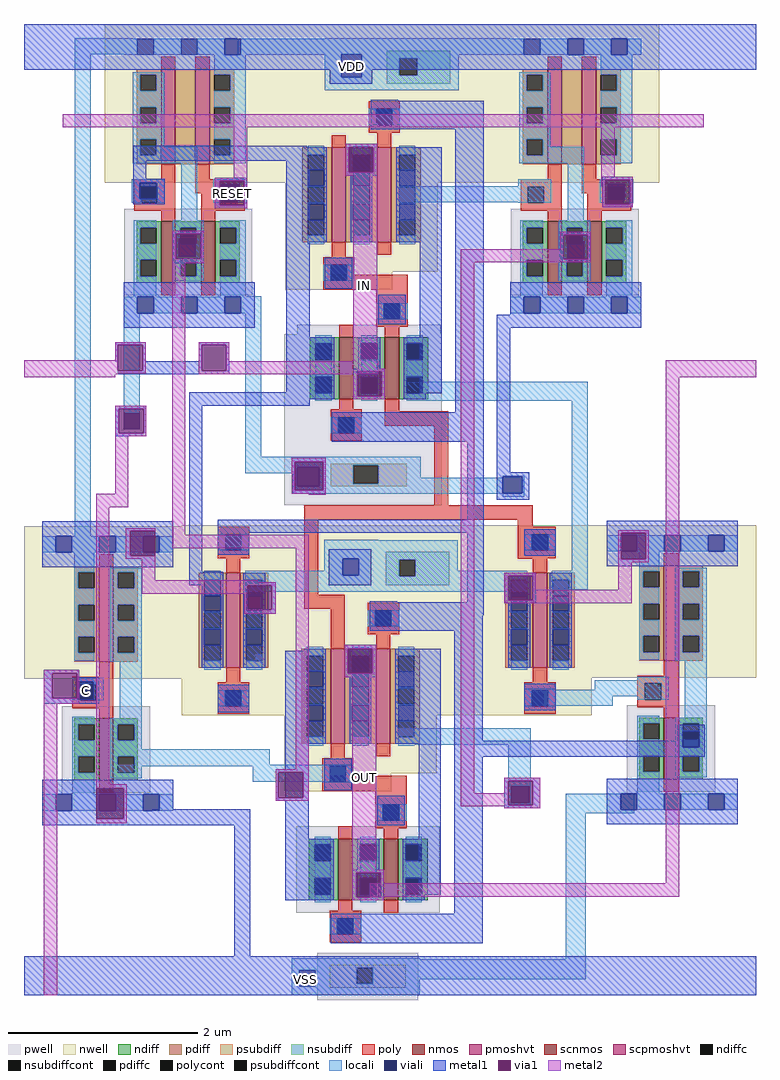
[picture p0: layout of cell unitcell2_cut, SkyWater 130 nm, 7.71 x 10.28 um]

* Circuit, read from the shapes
.subckt unitcell2_cut IN C RESET VSS VDD OUT
XM1 sky130_fd_sc_hd__inv_1_0/A C VSS VSS sky130_fd_pr__nfet_01v8 w=0.65 l=0.15
XM2 n1 demux_0/OUT1 VSS VSS sky130_fd_pr__nfet_01v8 w=0.65 l=0.15
XM3 VSS RESET n1 VSS sky130_fd_pr__nfet_01v8 w=0.65 l=0.15
XM4 OUT demux_0/S n1 VSS sky130_fd_pr__nfet_01v8 w=0.65 l=0.15
XM5 IN demux_0/S demux_0/OUT1 VSS sky130_fd_pr__nfet_01v8 w=0.65 l=0.15
XM6 n2 sky130_fd_sc_hd__inv_1_0/A OUT VSS sky130_fd_pr__nfet_01v8 w=0.65 l=0.15
XM7 demux_0/OUT2 sky130_fd_sc_hd__inv_1_0/A IN VSS sky130_fd_pr__nfet_01v8 w=0.65 l=0.15
XM8 n2 demux_0/OUT2 VSS VSS sky130_fd_pr__nfet_01v8 w=0.65 l=0.15
XM9 VSS RESET n2 VSS sky130_fd_pr__nfet_01v8 w=0.65 l=0.15
XM10 demux_0/S sky130_fd_sc_hd__inv_1_0/A VSS VSS sky130_fd_pr__nfet_01v8 w=0.65 l=0.15
XM11 sky130_fd_sc_hd__inv_1_0/A C VDD VDD sky130_fd_pr__pfet_01v8_hvt w=1 l=0.15
XM12 n3 demux_0/OUT1 n1 VDD sky130_fd_pr__pfet_01v8_hvt w=1 l=0.15
XM13 VDD RESET n3 VDD sky130_fd_pr__pfet_01v8_hvt w=1 l=0.15
XM14 VDD demux_0/S demux_0/OUT1 VDD sky130_fd_pr__pfet_01v8_hvt w=1 l=0.15
XM15 OUT sky130_fd_sc_hd__inv_1_0/A n1 VDD sky130_fd_pr__pfet_01v8_hvt w=1 l=0.15
XM16 IN sky130_fd_sc_hd__inv_1_0/A demux_0/OUT1 VDD sky130_fd_pr__pfet_01v8_hvt w=1 l=0.15
XM17 n2 demux_0/S OUT VDD sky130_fd_pr__pfet_01v8_hvt w=1 l=0.15
XM18 demux_0/OUT2 demux_0/S IN VDD sky130_fd_pr__pfet_01v8_hvt w=1 l=0.15
XM19 demux_0/OUT2 sky130_fd_sc_hd__inv_1_0/A VDD VDD sky130_fd_pr__pfet_01v8_hvt w=1 l=0.15
XM20 n4 demux_0/OUT2 n2 VDD sky130_fd_pr__pfet_01v8_hvt w=1 l=0.15
XM21 VDD RESET n4 VDD sky130_fd_pr__pfet_01v8_hvt w=1 l=0.15
XM22 demux_0/S sky130_fd_sc_hd__inv_1_0/A VDD VDD sky130_fd_pr__pfet_01v8_hvt w=1 l=0.15
.ends

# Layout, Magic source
magic
tech sky130A
magscale 1 2
<< nwell >>
rect -396 700 772 1034
rect 258 -422 630 -22
<< poly >>
rect 194 218 224 220
rect 194 188 328 218
rect 298 20 328 188
rect 24 -10 506 20
rect 24 -168 54 -10
rect 474 -92 506 -10
rect 24 -198 110 -168
rect 80 -272 110 -198
<< locali >>
rect -459 970 -336 1004
rect -80 998 68 1003
rect 180 1002 458 1004
rect 346 998 460 1002
rect -459 -65 -425 970
rect -109 969 78 998
rect 342 969 487 998
rect 256 690 476 692
rect 224 658 544 690
rect -356 425 -330 458
rect -356 214 -322 425
rect -100 122 -66 460
rect 240 240 622 280
rect -100 118 0 122
rect -100 88 10 118
rect 442 80 488 82
rect 270 76 442 78
rect 10 44 46 62
rect 242 46 442 76
rect 484 46 488 80
rect 242 44 488 46
rect 442 38 488 44
rect 588 -118 622 240
rect -100 -162 106 -118
rect 306 -162 494 -118
rect 546 -158 622 -118
rect -78 -324 -64 -294
rect -74 -326 -64 -324
rect 636 -350 726 -348
rect 636 -362 768 -350
rect 488 -368 554 -366
rect 636 -368 792 -362
rect 488 -372 792 -368
rect 530 -382 792 -372
rect 530 -402 674 -382
rect 726 -388 792 -382
rect 222 -484 502 -450
rect -332 -526 -48 -494
rect -378 -530 128 -526
rect -378 -554 -318 -530
rect -84 -562 128 -530
rect 454 -572 502 -484
rect 454 -606 460 -572
rect 498 -606 502 -572
rect 454 -618 502 -606
rect 575 -629 719 -587
rect 575 -936 617 -629
rect 214 -978 617 -936
<< viali >>
rect -322 666 -286 700
rect -150 662 -112 696
rect 664 664 700 698
rect -240 544 -204 582
rect 578 540 614 576
rect -356 180 -322 214
rect 442 46 484 80
rect -456 -388 -420 -352
rect 822 -490 856 -456
rect 460 -606 498 -572
<< metal1 >>
rect -566 938 -200 1034
rect -116 938 520 1034
rect 724 938 976 1034
rect 102 922 146 938
rect -336 746 30 778
rect -336 708 -308 746
rect -336 700 -270 708
rect -336 666 -322 700
rect -286 666 -270 700
rect -336 654 -270 666
rect -164 704 -96 710
rect -164 652 -154 704
rect -102 652 -96 704
rect -164 646 -96 652
rect 652 706 716 712
rect 652 654 658 706
rect 710 654 716 706
rect 652 648 716 654
rect -254 592 -186 598
rect -254 540 -246 592
rect -194 540 -186 592
rect -254 530 -186 540
rect 564 590 628 596
rect 564 538 570 590
rect 622 538 628 590
rect 564 532 628 538
rect -374 358 -310 364
rect -374 324 -368 358
rect -316 324 -310 358
rect -198 358 -134 364
rect -198 324 -192 358
rect -316 304 -192 324
rect -140 304 -134 358
rect -368 296 -134 304
rect -218 244 -14 258
rect -218 230 36 244
rect -374 224 -308 230
rect -374 172 -366 224
rect -314 172 -308 224
rect -374 166 -308 172
rect -218 -120 -190 230
rect 368 -10 402 232
rect 430 90 458 422
rect 430 80 498 90
rect 430 46 442 80
rect 484 46 498 80
rect 430 32 498 46
rect -158 -38 402 -10
rect -158 -84 -92 -38
rect -218 -122 -146 -120
rect -218 -124 -190 -122
rect -218 -148 -192 -124
rect -102 -148 -36 -142
rect -102 -200 -96 -148
rect -44 -200 -36 -148
rect -102 -208 -36 -200
rect 368 -212 402 -38
rect 488 -86 554 -30
rect 446 -128 512 -122
rect 446 -180 454 -128
rect 506 -180 512 -128
rect 446 -186 512 -180
rect -524 -334 -450 -326
rect -524 -386 -506 -334
rect -454 -342 -450 -334
rect -454 -352 -408 -342
rect -524 -388 -456 -386
rect -420 -388 -408 -352
rect -524 -398 -408 -388
rect -158 -416 -92 -358
rect 488 -412 554 -356
rect 810 -456 868 -442
rect 810 -476 822 -456
rect 386 -490 822 -476
rect 856 -490 868 -456
rect 386 -510 868 -490
rect -36 -542 28 -536
rect -36 -596 -30 -542
rect 22 -596 28 -542
rect -36 -602 28 -596
rect 446 -560 522 -554
rect 446 -612 454 -560
rect 506 -612 522 -560
rect 446 -618 522 -612
rect -296 -654 -89 -620
rect -123 -930 -89 -654
rect -566 -1012 976 -930
<< via1 >>
rect -154 696 -102 704
rect -154 662 -150 696
rect -150 662 -112 696
rect -112 662 -102 696
rect -154 652 -102 662
rect 658 698 710 706
rect 658 664 664 698
rect 664 664 700 698
rect 700 664 710 698
rect 658 654 710 664
rect -246 582 -194 592
rect -246 544 -240 582
rect -240 544 -204 582
rect -204 544 -194 582
rect -246 540 -194 544
rect 570 576 622 590
rect 570 540 578 576
rect 578 540 614 576
rect 614 540 622 576
rect 570 538 622 540
rect -368 304 -316 358
rect -192 304 -140 358
rect -366 214 -314 224
rect -366 180 -356 214
rect -356 180 -322 214
rect -322 180 -314 214
rect -366 172 -314 180
rect -342 -86 -290 -34
rect 4 52 64 112
rect -96 -200 -44 -148
rect 692 -94 744 -38
rect 454 -180 506 -128
rect -506 -352 -454 -334
rect -506 -386 -456 -352
rect -456 -386 -454 -352
rect -414 -640 -356 -576
rect -30 -596 22 -542
rect 454 -572 506 -560
rect 454 -606 460 -572
rect 460 -606 498 -572
rect 498 -606 506 -572
rect 454 -612 506 -606
<< metal2 >>
rect -484 816 866 844
rect -124 710 -96 816
rect -164 704 -96 710
rect -164 652 -154 704
rect -102 652 -96 704
rect 650 712 678 816
rect 650 706 716 712
rect 650 692 658 706
rect -164 646 -96 652
rect 652 654 658 692
rect 710 654 716 706
rect 652 648 716 654
rect -254 592 -186 598
rect -254 540 -246 592
rect -194 540 -186 592
rect 564 590 628 596
rect 564 560 570 590
rect -254 530 -186 540
rect 354 538 570 560
rect 622 538 628 590
rect 354 532 628 538
rect -374 358 -310 364
rect -374 326 -368 358
rect -566 304 -368 326
rect -316 304 -310 358
rect -566 298 -310 304
rect -566 296 -368 298
rect -566 290 -374 296
rect -374 224 -308 230
rect -374 172 -366 224
rect -314 172 -308 224
rect -374 166 -308 172
rect -374 44 -346 166
rect -414 16 -346 44
rect -524 -334 -450 -326
rect -524 -386 -506 -334
rect -454 -386 -450 -334
rect -524 -398 -450 -386
rect -524 -1012 -496 -398
rect -414 -568 -386 16
rect -352 -34 -290 -28
rect -352 -86 -342 -34
rect -254 -42 -226 530
rect 136 462 168 504
rect -198 358 -134 364
rect -198 304 -192 358
rect -140 324 -134 358
rect -140 304 180 324
rect -198 296 180 304
rect -2 112 70 120
rect -2 52 4 112
rect 64 52 70 112
rect -2 44 70 52
rect 34 42 70 44
rect -254 -70 34 -42
rect -352 -92 -290 -86
rect -318 -138 -290 -92
rect -318 -142 -74 -138
rect -318 -148 -36 -142
rect -318 -166 -96 -148
rect -102 -200 -96 -166
rect -44 -200 -36 -148
rect -102 -208 -36 -200
rect 6 -536 34 -70
rect -36 -542 34 -536
rect -414 -576 -350 -568
rect -356 -640 -350 -576
rect -36 -596 -30 -542
rect 22 -596 34 -542
rect 138 -572 166 -536
rect -36 -602 34 -596
rect 354 -586 382 532
rect 786 290 976 326
rect 686 -38 750 -32
rect 686 -94 692 -38
rect 744 -94 750 -38
rect 686 -100 750 -94
rect 446 -128 512 -122
rect 446 -180 454 -128
rect 506 -158 512 -128
rect 686 -158 714 -100
rect 506 -180 714 -158
rect 446 -186 714 -180
rect 446 -560 522 -554
rect 446 -586 454 -560
rect 354 -612 454 -586
rect 506 -612 522 -560
rect 354 -614 522 -612
rect 446 -618 522 -614
rect -414 -650 -350 -640
rect 786 -776 814 290
rect 162 -804 814 -776
use sky130_fd_pr__pfet_01v8_hvt_UUWA33  1
transform 1 0 -125 0 1 -222
box -109 -200 109 200
use sky130_fd_pr__pfet_01v8_hvt_UUWA33  2
transform 1 0 521 0 1 -222
box -109 -200 109 200
use demux  demux_0
transform 1 0 36 0 1 156
box -54 -136 366 878
use mux  mux_0
transform 1 0 34 0 1 -900
box -54 -136 366 878
use sky130_fd_sc_hd__inv_1  sky130_fd_sc_hd__inv_1_0 $PDKPATH/libs.ref/sky130_fd_sc_hd/mag
transform 1 0 662 0 1 -604
box -38 -48 314 592
use sky130_fd_sc_hd__inv_1  sky130_fd_sc_hd__inv_1_1
transform 1 0 -528 0 1 -606
box -38 -48 314 592
use sky130_fd_sc_hd__nor2_1  sky130_fd_sc_hd__nor2_1_0 $PDKPATH/libs.ref/sky130_fd_sc_hd/mag
transform 1 0 -356 0 1 442
box -38 -48 314 592
use sky130_fd_sc_hd__nor2_1  sky130_fd_sc_hd__nor2_1_1
transform 1 0 458 0 1 442
box -38 -48 314 592
<< labels >>
flabel metal2 136 462 168 504 1 FreeSans 160 0 0 0 IN
port 1 n
flabel viali -452 -386 -420 -354 1 FreeSans 160 0 0 0 C
port 2 n
flabel metal2 -150 660 -104 692 1 FreeSans 160 0 0 0 RESET
port 3 n
flabel metal1 102 922 146 966 1 FreeSans 160 0 0 0 VDD
port 5 n
flabel metal1 8 -998 48 -960 1 FreeSans 160 0 0 0 VSS
port 4 n
flabel metal2 138 -572 166 -536 1 FreeSans 160 0 0 0 OUT
port 6 n
<< end >>

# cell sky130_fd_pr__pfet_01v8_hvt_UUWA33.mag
magic
tech sky130A
magscale 1 2
<< nwell >>
rect -109 -200 109 200
<< pmoshvt >>
rect -15 -100 15 100
<< pdiff >>
rect -73 85 -15 100
rect -73 51 -61 85
rect -27 51 -15 85
rect -73 17 -15 51
rect -73 -17 -61 17
rect -27 -17 -15 17
rect -73 -51 -15 -17
rect -73 -85 -61 -51
rect -27 -85 -15 -51
rect -73 -100 -15 -85
rect 15 85 73 100
rect 15 51 27 85
rect 61 51 73 85
rect 15 17 73 51
rect 15 -17 27 17
rect 61 -17 73 17
rect 15 -51 73 -17
rect 15 -85 27 -51
rect 61 -85 73 -51
rect 15 -100 73 -85
<< pdiffc >>
rect -61 51 -27 85
rect -61 -17 -27 17
rect -61 -85 -27 -51
rect 27 51 61 85
rect 27 -17 61 17
rect 27 -85 61 -51
<< poly >>
rect -33 181 33 197
rect -33 147 -17 181
rect 17 147 33 181
rect -33 131 33 147
rect -15 100 15 131
rect -15 -131 15 -100
rect -33 -147 33 -131
rect -33 -181 -17 -147
rect 17 -181 33 -147
rect -33 -197 33 -181
<< polycont >>
rect -17 147 17 181
rect -17 -181 17 -147
<< locali >>
rect -33 147 -17 181
rect 17 147 33 181
rect -61 85 -27 104
rect -61 17 -27 19
rect -61 -19 -27 -17
rect -61 -104 -27 -85
rect 27 85 61 104
rect 27 17 61 19
rect 27 -19 61 -17
rect 27 -104 61 -85
rect -33 -181 -17 -147
rect 17 -181 33 -147
<< viali >>
rect -17 147 17 181
rect -61 51 -27 53
rect -61 19 -27 51
rect -61 -51 -27 -19
rect -61 -53 -27 -51
rect 27 51 61 53
rect 27 19 61 51
rect 27 -51 61 -19
rect 27 -53 61 -51
rect -17 -181 17 -147
<< metal1 >>
rect -29 181 29 187
rect -29 147 -17 181
rect 17 147 29 181
rect -29 141 29 147
rect -67 53 -21 100
rect -67 19 -61 53
rect -27 19 -21 53
rect -67 -19 -21 19
rect -67 -53 -61 -19
rect -27 -53 -21 -19
rect -67 -100 -21 -53
rect 21 53 67 100
rect 21 19 27 53
rect 61 19 67 53
rect 21 -19 67 19
rect 21 -53 27 -19
rect 61 -53 67 -19
rect 21 -100 67 -53
rect -29 -147 29 -141
rect -29 -181 -17 -147
rect 17 -181 29 -147
rect -29 -187 29 -181
<< end >>

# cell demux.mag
magic
tech sky130A
magscale 1 2
<< nwell >>
rect -54 614 336 878
<< pwell >>
rect -54 -136 278 224
<< psubdiff >>
rect 44 -52 204 -48
rect 44 -90 92 -52
rect 144 -90 204 -52
rect 44 -96 204 -90
<< nsubdiff >>
rect 162 806 296 822
rect 162 770 188 806
rect 226 770 296 806
rect 162 752 296 770
<< psubdiffcont >>
rect 92 -90 144 -52
<< nsubdiffcont >>
rect 188 770 226 806
<< poly >>
rect 28 318 206 350
rect 140 240 206 318
<< locali >>
rect 32 846 146 848
rect 32 814 314 846
rect 32 766 66 814
rect 110 806 314 814
rect 110 770 188 806
rect 226 770 314 806
rect 110 766 314 770
rect 32 738 314 766
rect -36 -52 234 -34
rect -36 -56 92 -52
rect -36 -96 -26 -56
rect 20 -90 92 -56
rect 144 -90 234 -52
rect 20 -96 234 -90
rect -36 -112 234 -96
<< viali >>
rect 66 766 110 814
rect -26 -96 20 -56
<< metal1 >>
rect 42 814 132 828
rect 42 766 66 814
rect 110 766 132 814
rect 42 752 132 766
rect 128 716 186 718
rect 128 656 366 716
rect 76 618 142 626
rect -50 218 0 614
rect 76 566 82 618
rect 134 566 142 618
rect 76 558 142 566
rect 188 418 278 618
rect 32 320 90 386
rect 144 246 202 308
rect -50 88 52 218
rect 92 146 158 152
rect 92 94 100 146
rect 152 94 158 146
rect 232 100 278 418
rect 92 88 158 94
rect 306 60 366 656
rect 46 -2 366 60
rect -38 -56 34 -36
rect -38 -96 -26 -56
rect 20 -96 34 -56
rect -38 -112 34 -96
<< via1 >>
rect 82 566 134 618
rect 100 94 152 146
<< metal2 >>
rect 76 618 142 626
rect 76 566 82 618
rect 134 566 142 618
rect 76 558 142 566
rect 92 152 142 558
rect 92 146 158 152
rect 92 94 100 146
rect 152 94 158 146
rect 92 88 158 94
use sky130_fd_pr__nfet_01v8_PX9ZJG  1
transform 1 0 125 0 1 153
box -125 -153 125 153
use sky130_fd_pr__pfet_01v8_hvt_SH6FHF  2
transform 1 0 109 0 1 518
box -161 -200 161 200
<< labels >>
flabel metal1 -38 296 -14 332 1 FreeSans 160 0 0 0 OUT1
flabel metal1 242 314 262 330 1 FreeSans 160 0 0 0 OUT2
flabel metal2 106 322 124 340 1 FreeSans 160 0 0 0 IN
flabel nwell 54 760 118 814 1 FreeSans 160 0 0 0 VDD
flabel pwell -30 -110 22 -52 1 FreeSans 160 0 0 0 VSS
flabel metal1 328 316 346 340 1 FreeSans 160 0 0 0 S
flabel metal1 48 326 76 362 1 FreeSans 160 0 0 0 Sbar
<< end >>

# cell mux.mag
magic
tech sky130A
magscale 1 2
<< nwell >>
rect -54 614 336 878
<< pwell >>
rect 18 -122 230 -22
<< psubdiff >>
rect 44 -54 204 -48
rect 44 -88 101 -54
rect 135 -88 204 -54
rect 44 -96 204 -88
<< nsubdiff >>
rect 162 805 296 822
rect 162 771 190 805
rect 224 771 296 805
rect 162 752 296 771
<< psubdiffcont >>
rect 101 -88 135 -54
<< nsubdiffcont >>
rect 190 771 224 805
<< poly >>
rect 28 318 206 350
rect 140 240 206 318
<< locali >>
rect 32 846 146 848
rect 32 807 314 846
rect 32 773 71 807
rect 105 805 314 807
rect 105 773 190 805
rect 32 771 190 773
rect 224 771 314 805
rect 32 738 314 771
rect -36 -54 234 -34
rect -36 -59 101 -54
rect -36 -93 -20 -59
rect 14 -88 101 -59
rect 135 -88 234 -54
rect 14 -93 234 -88
rect -36 -112 234 -93
<< viali >>
rect 71 773 105 807
rect -20 -93 14 -59
<< metal1 >>
rect 42 807 132 828
rect 42 773 71 807
rect 105 773 132 807
rect 42 752 132 773
rect 128 716 186 718
rect 128 656 366 716
rect 76 618 142 626
rect -50 218 0 614
rect 76 566 82 618
rect 134 566 142 618
rect 76 558 142 566
rect 188 418 278 618
rect 32 320 90 386
rect 144 246 202 308
rect -50 88 52 218
rect 92 146 158 152
rect 92 94 100 146
rect 152 94 158 146
rect 232 100 278 418
rect 92 88 158 94
rect 306 60 366 656
rect 46 -2 366 60
rect -38 -59 34 -36
rect -38 -93 -20 -59
rect 14 -93 34 -59
rect -38 -112 34 -93
<< via1 >>
rect 82 566 134 618
rect 100 94 152 146
<< metal2 >>
rect 76 618 142 626
rect 76 566 82 618
rect 134 566 142 618
rect 76 558 142 566
rect 92 152 142 558
rect 92 146 158 152
rect 92 94 100 146
rect 152 94 158 146
rect 92 88 158 94
use sky130_fd_pr__nfet_01v8_PX9ZJG  1
transform 1 0 125 0 1 153
box -151 -153 151 153
use sky130_fd_pr__pfet_01v8_hvt_SH6FHF  2
transform 1 0 109 0 1 518
box -161 -200 161 200
<< end >>

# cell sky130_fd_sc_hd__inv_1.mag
magic
tech sky130A
magscale 1 2
<< nwell >>
rect -38 261 314 582
<< pwell >>
rect 42 21 228 203
rect 42 17 63 21
rect 29 -17 63 17
<< scnmos >>
rect 120 47 150 177
<< scpmoshvt >>
rect 120 297 150 497
<< ndiff >>
rect 68 165 120 177
rect 68 131 76 165
rect 110 131 120 165
rect 68 97 120 131
rect 68 63 76 97
rect 110 63 120 97
rect 68 47 120 63
rect 150 165 202 177
rect 150 131 160 165
rect 194 131 202 165
rect 150 97 202 131
rect 150 63 160 97
rect 194 63 202 97
rect 150 47 202 63
<< pdiff >>
rect 68 485 120 497
rect 68 451 76 485
rect 110 451 120 485
rect 68 417 120 451
rect 68 383 76 417
rect 110 383 120 417
rect 68 349 120 383
rect 68 315 76 349
rect 110 315 120 349
rect 68 297 120 315
rect 150 485 202 497
rect 150 451 160 485
rect 194 451 202 485
rect 150 417 202 451
rect 150 383 160 417
rect 194 383 202 417
rect 150 349 202 383
rect 150 315 160 349
rect 194 315 202 349
rect 150 297 202 315
<< ndiffc >>
rect 76 131 110 165
rect 76 63 110 97
rect 160 131 194 165
rect 160 63 194 97
<< pdiffc >>
rect 76 451 110 485
rect 76 383 110 417
rect 76 315 110 349
rect 160 451 194 485
rect 160 383 194 417
rect 160 315 194 349
<< poly >>
rect 120 497 150 523
rect 120 265 150 297
rect 64 249 150 265
rect 64 215 80 249
rect 114 215 150 249
rect 64 199 150 215
rect 120 177 150 199
rect 120 21 150 47
<< polycont >>
rect 80 215 114 249
<< locali >>
rect 0 527 29 561
rect 63 527 121 561
rect 155 527 213 561
rect 247 527 276 561
rect 68 485 110 527
rect 68 451 76 485
rect 68 417 110 451
rect 68 383 76 417
rect 68 349 110 383
rect 68 315 76 349
rect 68 299 110 315
rect 144 485 210 493
rect 144 451 160 485
rect 194 451 210 485
rect 144 417 210 451
rect 144 383 160 417
rect 194 383 210 417
rect 144 349 210 383
rect 144 315 160 349
rect 194 315 210 349
rect 144 297 210 315
rect 64 249 130 263
rect 64 215 80 249
rect 114 215 130 249
rect 64 165 110 181
rect 164 177 210 297
rect 64 131 76 165
rect 64 97 110 131
rect 64 63 76 97
rect 64 17 110 63
rect 144 165 210 177
rect 144 131 160 165
rect 194 131 210 165
rect 144 97 210 131
rect 144 63 160 97
rect 194 63 210 97
rect 144 51 210 63
rect 0 -17 29 17
rect 63 -17 121 17
rect 155 -17 213 17
rect 247 -17 276 17
<< viali >>
rect 29 527 63 561
rect 121 527 155 561
rect 213 527 247 561
rect 29 -17 63 17
rect 121 -17 155 17
rect 213 -17 247 17
<< metal1 >>
rect 0 561 276 592
rect 0 527 29 561
rect 63 527 121 561
rect 155 527 213 561
rect 247 527 276 561
rect 0 496 276 527
rect 0 17 276 48
rect 0 -17 29 17
rect 63 -17 121 17
rect 155 -17 213 17
rect 247 -17 276 17
rect 0 -48 276 -17
<< labels >>
flabel locali s 164 289 198 323 0 FreeSans 340 0 0 0 Y
port 1 nsew
flabel locali s 164 221 198 255 0 FreeSans 340 0 0 0 Y
port 1 nsew
flabel locali s 72 221 106 255 0 FreeSans 340 0 0 0 A
port 2 nsew
flabel nwell s 29 527 63 561 0 FreeSans 200 0 0 0 VPB
port 3 nsew
flabel pwell s 29 -17 63 17 0 FreeSans 200 0 0 0 VNB
port 4 nsew
flabel metal1 s 29 -17 63 17 0 FreeSans 200 0 0 0 VGND
port 5 nsew
flabel metal1 s 29 527 63 561 0 FreeSans 200 0 0 0 VPWR
port 6 nsew
rlabel comment s 0 0 0 0 4 inv_1
<< properties >>
string FIXED_BBOX 0 0 276 544
string path 0.000 0.000 1.380 0.000 
<< end >>

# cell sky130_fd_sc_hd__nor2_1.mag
magic
tech sky130A
magscale 1 2
<< nwell >>
rect -38 261 314 582
<< pwell >>
rect 1 21 271 203
<< scnmos >>
rect 79 47 109 177
rect 163 47 193 177
<< scpmoshvt >>
rect 79 297 109 497
rect 151 297 181 497
<< ndiff >>
rect 27 163 79 177
rect 27 129 35 163
rect 69 129 79 163
rect 27 95 79 129
rect 27 61 35 95
rect 69 61 79 95
rect 27 47 79 61
rect 109 163 163 177
rect 109 129 119 163
rect 153 129 163 163
rect 109 95 163 129
rect 109 61 119 95
rect 153 61 163 95
rect 109 47 163 61
rect 193 163 245 177
rect 193 129 203 163
rect 237 129 245 163
rect 193 95 245 129
rect 193 61 203 95
rect 237 61 245 95
rect 193 47 245 61
<< pdiff >>
rect 27 485 79 497
rect 27 451 35 485
rect 69 451 79 485
rect 27 417 79 451
rect 27 383 35 417
rect 69 383 79 417
rect 27 349 79 383
rect 27 315 35 349
rect 69 315 79 349
rect 27 297 79 315
rect 109 297 151 497
rect 181 485 233 497
rect 181 451 191 485
rect 225 451 233 485
rect 181 417 233 451
rect 181 383 191 417
rect 225 383 233 417
rect 181 349 233 383
rect 181 315 191 349
rect 225 315 233 349
rect 181 297 233 315
<< ndiffc >>
rect 35 129 69 163
rect 35 61 69 95
rect 119 129 153 163
rect 119 61 153 95
rect 203 129 237 163
rect 203 61 237 95
<< pdiffc >>
rect 35 451 69 485
rect 35 383 69 417
rect 35 315 69 349
rect 191 451 225 485
rect 191 383 225 417
rect 191 315 225 349
<< poly >>
rect 79 497 109 523
rect 151 497 181 523
rect 79 265 109 297
rect 22 249 109 265
rect 22 215 37 249
rect 71 215 109 249
rect 151 265 181 297
rect 151 249 255 265
rect 151 235 205 249
rect 22 199 109 215
rect 79 177 109 199
rect 163 215 205 235
rect 239 215 255 249
rect 163 199 255 215
rect 163 177 193 199
rect 79 21 109 47
rect 163 21 193 47
<< polycont >>
rect 37 215 71 249
rect 205 215 239 249
<< locali >>
rect 0 527 29 561
rect 63 527 121 561
rect 155 527 213 561
rect 247 527 276 561
rect 19 485 85 490
rect 19 451 35 485
rect 69 451 85 485
rect 19 417 85 451
rect 19 383 35 417
rect 69 383 85 417
rect 19 349 85 383
rect 19 315 35 349
rect 69 333 85 349
rect 191 485 257 527
rect 225 451 257 485
rect 191 417 257 451
rect 225 383 257 417
rect 191 349 257 383
rect 69 315 155 333
rect 19 299 155 315
rect 225 315 257 349
rect 191 299 257 315
rect 17 249 87 265
rect 17 215 37 249
rect 71 215 87 249
rect 121 179 155 299
rect 189 249 259 265
rect 189 215 205 249
rect 239 215 259 249
rect 21 163 69 179
rect 21 129 35 163
rect 21 95 69 129
rect 21 61 35 95
rect 21 17 69 61
rect 103 163 169 179
rect 103 129 119 163
rect 153 129 169 163
rect 103 95 169 129
rect 103 61 119 95
rect 153 61 169 95
rect 103 51 169 61
rect 203 163 257 179
rect 237 129 257 163
rect 203 95 257 129
rect 237 61 257 95
rect 203 17 257 61
rect 0 -17 29 17
rect 63 -17 121 17
rect 155 -17 213 17
rect 247 -17 276 17
<< viali >>
rect 29 527 63 561
rect 121 527 155 561
rect 213 527 247 561
rect 29 -17 63 17
rect 121 -17 155 17
rect 213 -17 247 17
<< metal1 >>
rect 0 561 276 592
rect 0 527 29 561
rect 63 527 121 561
rect 155 527 213 561
rect 247 527 276 561
rect 0 496 276 527
rect 0 17 276 48
rect 0 -17 29 17
rect 63 -17 121 17
rect 155 -17 213 17
rect 247 -17 276 17
rect 0 -48 276 -17
<< properties >>
string FIXED_BBOX 0 0 276 544
<< end >>

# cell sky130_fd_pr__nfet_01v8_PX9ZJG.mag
magic
tech sky130A
magscale 1 2
<< pwell >>
rect -151 -91 151 91
<< nmos >>
rect -63 -65 -33 65
rect 33 -65 63 65
<< ndiff >>
rect -125 51 -63 65
rect -125 17 -113 51
rect -79 17 -63 51
rect -125 -17 -63 17
rect -125 -51 -113 -17
rect -79 -51 -63 -17
rect -125 -65 -63 -51
rect -33 51 33 65
rect -33 17 -17 51
rect 17 17 33 51
rect -33 -17 33 17
rect -33 -51 -17 -17
rect 17 -51 33 -17
rect -33 -65 33 -51
rect 63 51 125 65
rect 63 17 79 51
rect 113 17 125 51
rect 63 -17 125 17
rect 63 -51 79 -17
rect 113 -51 125 -17
rect 63 -65 125 -51
<< ndiffc >>
rect -113 17 -79 51
rect -113 -51 -79 -17
rect -17 17 17 51
rect -17 -51 17 -17
rect 79 17 113 51
rect 79 -51 113 -17
<< poly >>
rect 15 137 81 153
rect 15 103 31 137
rect 65 103 81 137
rect -63 65 -33 91
rect 15 87 81 103
rect 33 65 63 87
rect -63 -87 -33 -65
rect -81 -103 -15 -87
rect 33 -91 63 -65
rect -81 -137 -65 -103
rect -31 -137 -15 -103
rect -81 -153 -15 -137
<< polycont >>
rect 31 103 65 137
rect -65 -137 -31 -103
<< locali >>
rect 15 103 31 137
rect 65 103 81 137
rect -113 53 -79 69
rect -113 -17 -79 17
rect -113 -69 -79 -53
rect -17 53 17 69
rect -17 -17 17 17
rect -17 -69 17 -53
rect 79 53 113 69
rect 79 -17 113 17
rect 79 -69 113 -53
rect -81 -137 -65 -103
rect -31 -137 -15 -103
<< viali >>
rect 31 103 65 137
rect -113 51 -79 53
rect -113 19 -79 51
rect -113 -51 -79 -19
rect -113 -53 -79 -51
rect -17 51 17 53
rect -17 19 17 51
rect -17 -51 17 -19
rect -17 -53 17 -51
rect 79 51 113 53
rect 79 19 113 51
rect 79 -51 113 -19
rect 79 -53 113 -51
rect -65 -137 -31 -103
<< metal1 >>
rect 19 137 77 143
rect 19 103 31 137
rect 65 103 77 137
rect 19 97 77 103
rect -119 53 -73 65
rect -119 19 -113 53
rect -79 19 -73 53
rect -119 -19 -73 19
rect -119 -53 -113 -19
rect -79 -53 -73 -19
rect -119 -65 -73 -53
rect -23 53 23 65
rect -23 19 -17 53
rect 17 19 23 53
rect -23 -19 23 19
rect -23 -53 -17 -19
rect 17 -53 23 -19
rect -23 -65 23 -53
rect 73 53 119 65
rect 73 19 79 53
rect 113 19 119 53
rect 73 -19 119 19
rect 73 -53 79 -19
rect 113 -53 119 -19
rect 73 -65 119 -53
rect -77 -103 -19 -97
rect -77 -137 -65 -103
rect -31 -137 -19 -103
rect -77 -143 -19 -137
<< end >>

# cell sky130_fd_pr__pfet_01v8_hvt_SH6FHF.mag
magic
tech sky130A
magscale 1 2
<< nwell >>
rect -65 162 161 200
rect -161 -162 161 162
rect -161 -200 65 -162
<< pmoshvt >>
rect -63 -100 -33 100
rect 33 -100 63 100
<< pdiff >>
rect -125 85 -63 100
rect -125 51 -113 85
rect -79 51 -63 85
rect -125 17 -63 51
rect -125 -17 -113 17
rect -79 -17 -63 17
rect -125 -51 -63 -17
rect -125 -85 -113 -51
rect -79 -85 -63 -51
rect -125 -100 -63 -85
rect -33 85 33 100
rect -33 51 -17 85
rect 17 51 33 85
rect -33 17 33 51
rect -33 -17 -17 17
rect 17 -17 33 17
rect -33 -51 33 -17
rect -33 -85 -17 -51
rect 17 -85 33 -51
rect -33 -100 33 -85
rect 63 85 125 100
rect 63 51 79 85
rect 113 51 125 85
rect 63 17 125 51
rect 63 -17 79 17
rect 113 -17 125 17
rect 63 -51 125 -17
rect 63 -85 79 -51
rect 113 -85 125 -51
rect 63 -100 125 -85
<< pdiffc >>
rect -113 51 -79 85
rect -113 -17 -79 17
rect -113 -85 -79 -51
rect -17 51 17 85
rect -17 -17 17 17
rect -17 -85 17 -51
rect 79 51 113 85
rect 79 -17 113 17
rect 79 -85 113 -51
<< poly >>
rect 15 181 81 197
rect 15 147 31 181
rect 65 147 81 181
rect 15 131 81 147
rect -63 100 -33 126
rect 33 100 63 131
rect -63 -131 -33 -100
rect 33 -126 63 -100
rect -81 -147 -15 -131
rect -81 -181 -65 -147
rect -31 -181 -15 -147
rect -81 -197 -15 -181
<< polycont >>
rect 31 147 65 181
rect -65 -181 -31 -147
<< locali >>
rect 15 147 31 181
rect 65 147 81 181
rect -113 85 -79 104
rect -113 17 -79 19
rect -113 -19 -79 -17
rect -113 -104 -79 -85
rect -17 85 17 104
rect -17 17 17 19
rect -17 -19 17 -17
rect -17 -104 17 -85
rect 79 85 113 104
rect 79 17 113 19
rect 79 -19 113 -17
rect 79 -104 113 -85
rect -81 -181 -65 -147
rect -31 -181 -15 -147
<< viali >>
rect 31 147 65 181
rect -113 51 -79 53
rect -113 19 -79 51
rect -113 -51 -79 -19
rect -113 -53 -79 -51
rect -17 51 17 53
rect -17 19 17 51
rect -17 -51 17 -19
rect -17 -53 17 -51
rect 79 51 113 53
rect 79 19 113 51
rect 79 -51 113 -19
rect 79 -53 113 -51
rect -65 -181 -31 -147
<< metal1 >>
rect 19 181 77 187
rect 19 147 31 181
rect 65 147 77 181
rect 19 141 77 147
rect -119 53 -73 100
rect -119 19 -113 53
rect -79 19 -73 53
rect -119 -19 -73 19
rect -119 -53 -113 -19
rect -79 -53 -73 -19
rect -119 -100 -73 -53
rect -23 53 23 100
rect -23 19 -17 53
rect 17 19 23 53
rect -23 -19 23 19
rect -23 -53 -17 -19
rect 17 -53 23 -19
rect -23 -100 23 -53
rect 73 53 119 100
rect 73 19 79 53
rect 113 19 119 53
rect 73 -19 119 19
rect 73 -53 79 -19
rect 113 -53 119 -19
rect 73 -100 119 -53
rect -77 -147 -19 -141
rect -77 -181 -65 -147
rect -31 -181 -19 -147
rect -77 -187 -19 -181
<< end >>
